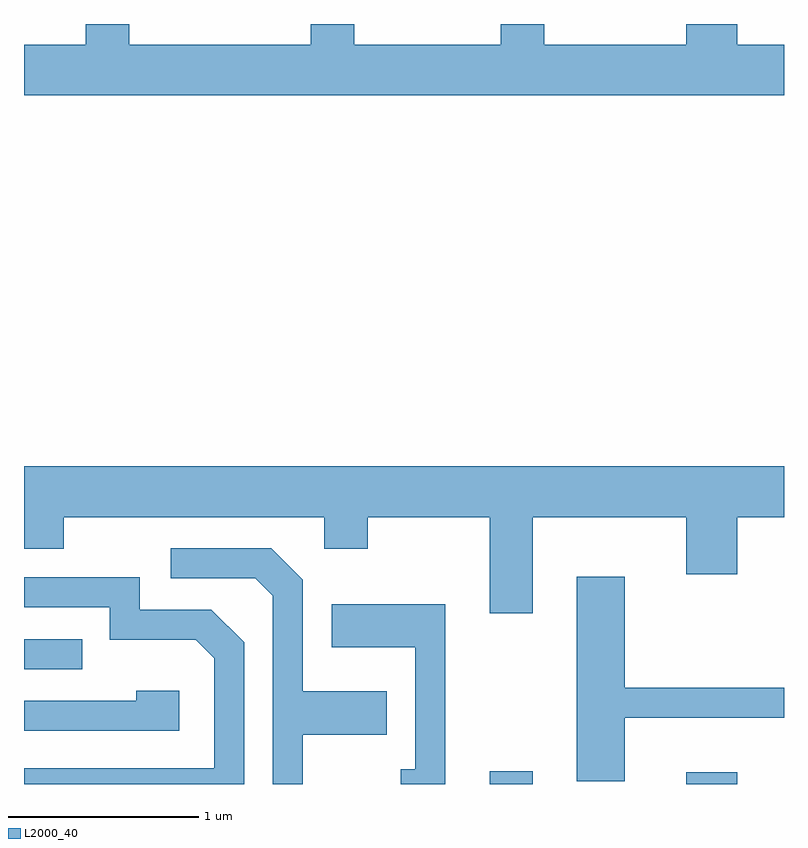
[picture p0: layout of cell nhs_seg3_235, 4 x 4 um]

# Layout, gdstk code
import gdstk
lib = gdstk.Library(unit=1e-6, precision=1e-09)
def R(c, l, rs):  # rectangles x0, y0, x1, y1
    for r in rs: c.add(gdstk.rectangle(r[:2], r[2:], *l))
def P(c, l, *ps):  # polygons
    for p in ps: c.add(gdstk.Polygon(p, *l))
L2000_40 = (2000, 40)

nhs_seg3_235 = lib.new_cell('nhs_seg3_235')
R(nhs_seg3_235, L2000_40, [(194.061,1177.892,194.289,1177.959), (195.096,1177.892,195.364,1177.954), (191.611,1178.496,191.918,1178.654)])
P(nhs_seg3_235, L2000_40, [(195.611,1181.784),(195.364,1181.784),(195.364,1181.892),(195.096,1181.892),(195.096,1181.784),(194.349,1181.784),(194.349,1181.892),(194.121,1181.892),(194.121,1181.784),(193.349,1181.784),(193.349,1181.892),(193.121,1181.892),(193.121,1181.784),(192.164,1181.784),(192.164,1181.892),(191.936,1181.892),(191.936,1181.784),(191.611,1181.784),(191.611,1181.516),(195.611,1181.516)],
  [(194.289,1179.296),(195.096,1179.296),(195.096,1178.996),(195.364,1178.996),(195.364,1179.296),(195.611,1179.296),(195.611,1179.564),(191.611,1179.564),(191.611,1179.131),(191.819,1179.131),(191.819,1179.296),(193.191,1179.296),(193.191,1179.131),(193.419,1179.131),(193.419,1179.296),(194.061,1179.296),(194.061,1178.791),(194.289,1178.791)],
  [(193.079,1178.151),(193.519,1178.151),(193.519,1178.379),(193.079,1178.379),(193.079,1178.967),(192.912,1179.134),(192.383,1179.134),(192.383,1178.976),(192.829,1178.976),(192.921,1178.884),(192.921,1177.892),(193.079,1177.892)],
  [(194.774,1178.241),(195.611,1178.241),(195.611,1178.399),(194.774,1178.399),(194.774,1178.984),(194.521,1178.984),(194.521,1177.906),(194.774,1177.906)],
  [(192.769,1178.637),(192.597,1178.809),(192.219,1178.809),(192.219,1178.979),(191.611,1178.979),(191.611,1178.821),(192.061,1178.821),(192.061,1178.651),(192.514,1178.651),(192.611,1178.554),(192.611,1177.974),(191.611,1177.974),(191.611,1177.892),(192.769,1177.892)],
  [(193.829,1178.839),(193.231,1178.839),(193.231,1178.611),(193.671,1178.611),(193.671,1177.969),(193.593,1177.969),(193.593,1177.892),(193.829,1177.892)],
  [(192.429,1178.384),(192.201,1178.384),(192.201,1178.329),(191.611,1178.329),(191.611,1178.171),(192.429,1178.171)])

lib.write_gds('nhs_seg3_235.gds')
